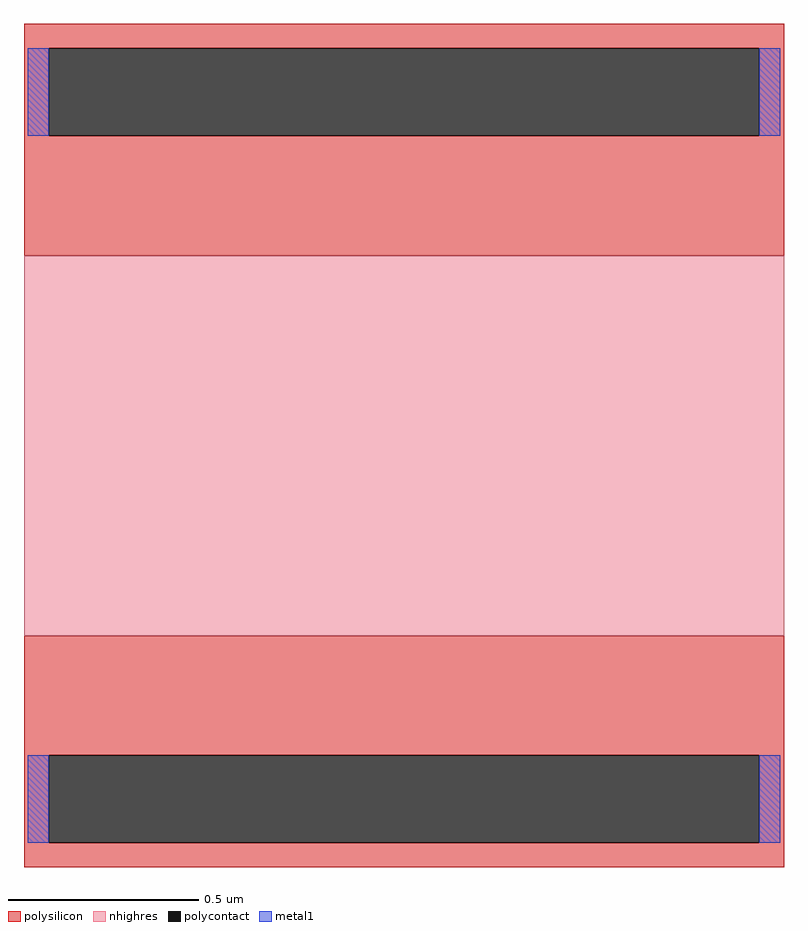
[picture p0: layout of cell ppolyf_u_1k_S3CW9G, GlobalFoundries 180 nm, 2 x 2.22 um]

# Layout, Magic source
magic
tech gf180mcuD
magscale 1 10
<< polysilicon >>
rect -200 209 200 222
rect -200 163 -187 209
rect 187 163 200 209
rect -200 100 200 163
rect -200 -163 200 -100
rect -200 -209 -187 -163
rect 187 -209 200 -163
rect -200 -222 200 -209
<< polycontact >>
rect -187 163 187 209
rect -187 -209 187 -163
<< nhighres >>
rect -200 -100 200 100
<< metal1 >>
rect -198 163 -187 209
rect 187 163 198 209
rect -198 -209 -187 -163
rect 187 -209 198 -163
<< properties >>
string gencell ppolyf_u_1k
string library gf180mcu
string parameters w 2.0 l 1.0 m 1 nx 1 wmin 1.000 lmin 1.000 class resistor rho 1000 val 507.511 dummy 0 dw 0.0296 term 0.0 sterm 0.0 caplen 0.4 snake 0 glc 0 grc 0 gtc 0 gbc 0 roverlap 0 endcov 100 full_metal 0 guard 0 guard_type pwell compatible {ppolyf_u_1k ppolyf_u_1k_6p0}
<< end >>
